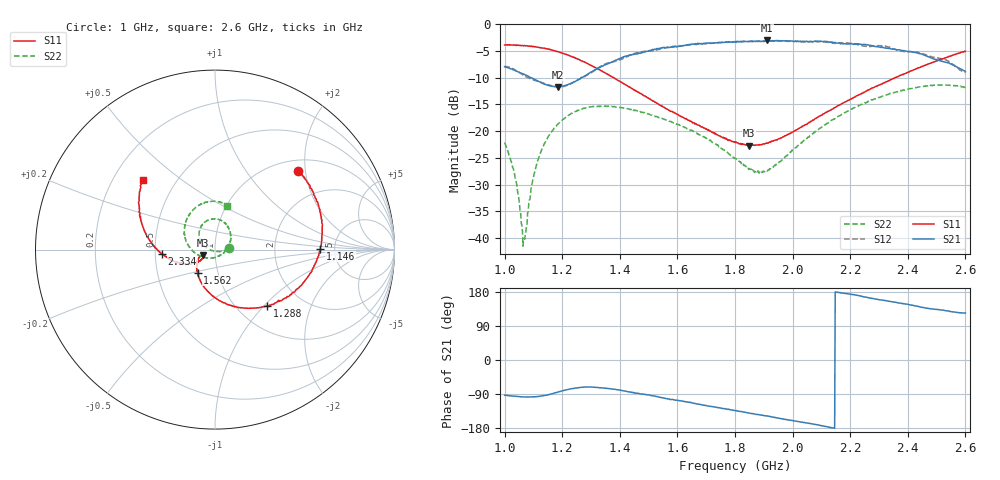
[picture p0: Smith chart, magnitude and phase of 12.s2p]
!EI41,AV3629A,1.0.34
!Calibration ON (Full Solt 2-Port(Omit Isolation))
!Measurements: S11 S21 S12 S22
!Friday, August 03, 2012  13 : 43
#Hz  S  MA  R 50.000
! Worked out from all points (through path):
!   801 points, 1 GHz to 2.6 GHz, reference 50 ohm
!   highest |S21| = -3.06 dB at 1.91 GHz (marker M1); lowest = -11.7 dB at 1.186 GHz (marker M2)
!   lowest |S11| = -22.7 dB at 1.848 GHz (marker M3), VSWR 1.16, Z = 43.7 - j2.79 ohm
!   |S11| at or under -10 dB: 1.379 GHz to 2.356 GHz (977 MHz wide, 52.3 % of centre)
!   |S22| runs from -41.5 to -11.4 dB; largest |S21 - S12| = 0.032
!   S11 on the Smith chart (normalised r, x): 1 GHz: 1.23, +1.82; 1.146 GHz: 3.85, +0.07; 1.288 GHz: 1.36, -1.04; 1.562 GHz: 0.80, -0.21; 2.334 GHz: 0.54, -0.03; 2.6 GHz: 0.33, +0.36
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1e9  0.6381 43.6  0.3992 -92.9  0.405 -91.9  0.07837 4.5
1.034e9  0.6356 34.8  0.3706 -95.4  0.3762 -97.1  0.04089 -11.6
1.048e9  0.6332 30.9  0.3569 -96.3  0.3589 -98.5  0.02507 -27.3
1.062e9  0.6308 26.6  0.3444 -97.4  0.3365 -98.6  0.0116 -60.8
1.068e9  0.6303 25.0  0.3405 -97.5  0.3303 -98.7  0.009872 -98.3
1.072e9  0.6284 23.8  0.3341 -97.5  0.3246 -98.2  0.01089 -124.8
1.102e9  0.6162 15.0  0.3068 -97.0  0.2988 -96.1  0.03957 173.9
1.146e9  0.5878 0.5  0.2705 -92.8  0.2749 -92.3  0.08386 153.5
1.186e9  0.5528 -12.6  0.2592 -84.5  0.2597 -85.2  0.1167 139.1
1.268e9  0.4523 -40.5  0.3166 -72.0  0.3138 -72.2  0.161 112.4
1.288e9  0.4279 -47.3  0.34 -71.4  0.3362 -71.4  0.1662 106.8
1.408e9  0.2843 -85.4  0.4859 -80.7  0.4706 -80.2  0.1652 77.2
1.534e9  0.1782 -120.1  0.5912 -97.5  0.5786 -97.1  0.1341 52.8
1.562e9  0.161 -127.1  0.6017 -101.9  0.6056 -100.5  0.1271 48.1
1.8e9  0.07929 -157.1  0.68 -133.3  0.6832 -133.9  0.0559 -14.0
1.848e9  0.07313 -154.3  0.6882 -140.1  0.6875 -139.9  0.04389 -38.8
1.91e9  0.0775 -148.0  0.7029 -147.7  0.6937 -148.2  0.04304 -82.6
2.068e9  0.1252 -145.3  0.6864 -168.4  0.683 -168.3  0.09417 -159.7
2.194e9  0.1947 -156.0  0.651 174.5  0.6651 174.8  0.1546 169.1
2.334e9  0.2952 -175.3  0.5924 155.3  0.6077 154.4  0.2211 138.0
2.532e9  0.4843 150.5  0.4399 130.1  0.4635 129.0  0.2691 91.9
2.6e9  0.5571 136.2  0.3593 123.8  0.3551 125.7  0.254 74.5
